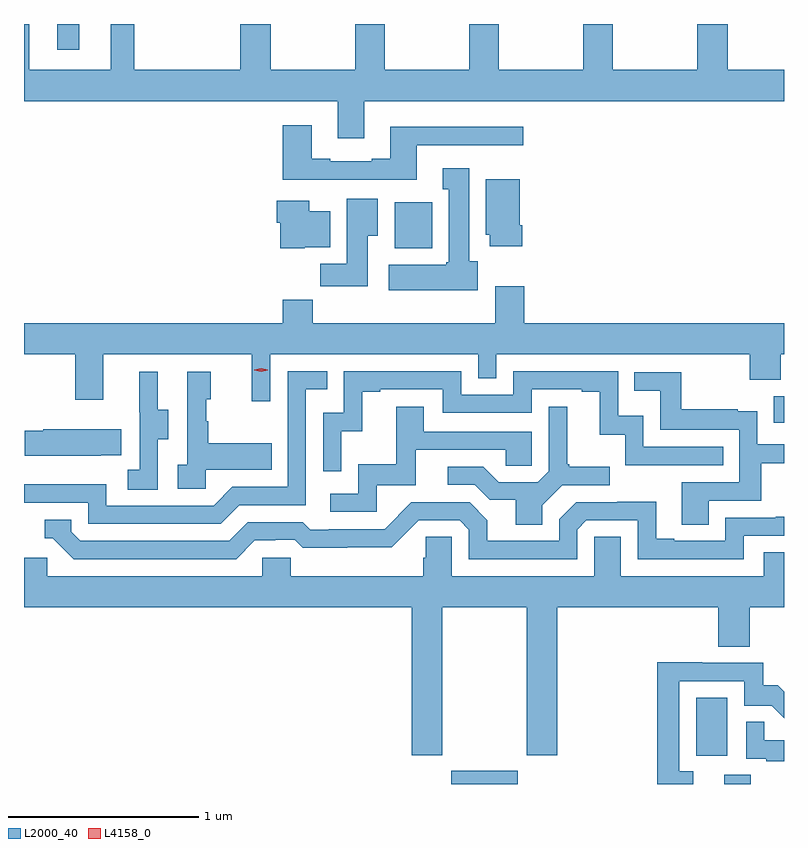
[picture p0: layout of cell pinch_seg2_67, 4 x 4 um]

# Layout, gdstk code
import gdstk
lib = gdstk.Library(unit=1e-6, precision=1e-09)
def R(c, l, rs):  # rectangles x0, y0, x1, y1
    for r in rs: c.add(gdstk.rectangle(r[:2], r[2:], *l))
def P(c, l, *ps):  # polygons
    for p in ps: c.add(gdstk.Polygon(p, *l))
L2000_40 = (2000, 40)
L4158_0 = (4158, 0)

pinch_seg2_67 = lib.new_cell('pinch_seg2_67')
R(pinch_seg2_67, L2000_40, [(1024.28,649.37,1024.63,649.441), (1025.717,649.37,1025.857,649.418), (1025.57,649.518,1025.734,649.825), (1025.977,651.272,1026.032,651.412), (1023.983,652.19,1024.18,652.432), (1022.207,653.235,1022.323,653.37)])
P(pinch_seg2_67, L2000_40, [(1023.823,652.964),(1026.032,652.964),(1026.032,653.128),(1025.735,653.128),(1025.735,653.37),(1025.575,653.37),(1025.575,653.128),(1025.13,653.128),(1025.13,653.37),(1024.975,653.37),(1024.975,653.128),(1024.53,653.128),(1024.53,653.37),(1024.375,653.37),(1024.375,653.128),(1023.93,653.128),(1023.93,653.37),(1023.775,653.37),(1023.775,653.128),(1023.33,653.128),(1023.33,653.37),(1023.17,653.37),(1023.17,653.128),(1022.611,653.128),(1022.611,653.37),(1022.489,653.37),(1022.489,653.128),(1022.059,653.128),(1022.059,653.37),(1022.032,653.37),(1022.032,652.964),(1023.683,652.964),(1023.683,652.77),(1023.823,652.77)],
  [(1024.099,652.731),(1024.66,652.731),(1024.66,652.828),(1023.959,652.828),(1023.959,652.66),(1023.863,652.66),(1023.863,652.647),(1023.643,652.647),(1023.643,652.66),(1023.547,652.66),(1023.547,652.837),(1023.395,652.837),(1023.395,652.551),(1024.099,652.551)],
  [(1024.42,652.122),(1024.375,652.122),(1024.375,652.612),(1024.235,652.612),(1024.235,652.499),(1024.268,652.499),(1024.268,652.116),(1024.255,652.116),(1024.255,652.102),(1023.951,652.102),(1023.951,651.968),(1024.42,651.968)],
  [(1024.655,652.312),(1024.642,652.312),(1024.642,652.552),(1024.463,652.552),(1024.463,652.26),(1024.484,652.26),(1024.484,652.2),(1024.655,652.2)],
  [(1023.841,652.256),(1023.895,652.256),(1023.895,652.45),(1023.731,652.45),(1023.731,652.108),(1023.592,652.108),(1023.592,651.99),(1023.841,651.99)],
  [(1023.51,652.196),(1023.643,652.196),(1023.643,652.384),(1023.532,652.384),(1023.532,652.441),(1023.362,652.441),(1023.362,652.323),(1023.38,652.323),(1023.38,652.19),(1023.51,652.19)],
  [(1023.327,651.632),(1024.422,651.632),(1024.422,651.505),(1024.518,651.505),(1024.518,651.632),(1025.853,651.632),(1025.853,651.497),(1026.014,651.497),(1026.014,651.632),(1026.032,651.632),(1026.032,651.796),(1024.664,651.796),(1024.664,651.991),(1024.511,651.991),(1024.511,651.796),(1023.551,651.796),(1023.551,651.92),(1023.395,651.92),(1023.395,651.796),(1022.032,651.796),(1022.032,651.632),(1022.302,651.632),(1022.302,651.393),(1022.449,651.393),(1022.449,651.632),(1023.23,651.632),(1023.23,651.384),(1023.327,651.384)],
  [(1023.166,650.838),(1023.516,650.838),(1023.516,651.447),(1023.629,651.447),(1023.629,651.543),(1023.42,651.543),(1023.42,650.934),(1023.129,650.934),(1023.03,650.835),(1022.466,650.835),(1022.466,650.947),(1022.032,650.947),(1022.032,650.85),(1022.37,650.85),(1022.37,650.739),(1023.067,650.739)],
  [(1023.702,651.227),(1023.812,651.227),(1023.812,651.435),(1023.907,651.435),(1023.907,651.447),(1024.236,651.447),(1024.236,651.324),(1024.704,651.324),(1024.704,651.447),(1024.967,651.447),(1024.967,651.435),(1025.063,651.435),(1025.063,651.209),(1025.196,651.209),(1025.196,651.048),(1025.711,651.048),(1025.711,651.144),(1025.292,651.144),(1025.292,651.307),(1025.16,651.307),(1025.16,651.543),(1024.608,651.543),(1024.608,651.42),(1024.332,651.42),(1024.332,651.543),(1023.714,651.543),(1023.714,651.324),(1023.606,651.324),(1023.606,651.015),(1023.702,651.015)],
  [(1022.988,651.023),(1023.335,651.023),(1023.335,651.163),(1023.001,651.163),(1023.001,651.278),(1022.991,651.278),(1022.991,651.396),(1023.016,651.396),(1023.016,651.541),(1022.892,651.541),(1022.892,651.05),(1022.841,651.05),(1022.841,650.925),(1022.988,650.925)],
  [(1022.736,651.184),(1022.791,651.184),(1022.791,651.339),(1022.737,651.339),(1022.737,651.541),(1022.639,651.541),(1022.639,651.327),(1022.64,651.327),(1022.64,651.023),(1022.577,651.023),(1022.577,650.92),(1022.736,650.92)],
  [(1025.635,650.862),(1025.912,650.862),(1025.912,651.058),(1026.032,651.058),(1026.032,651.159),(1025.892,651.159),(1025.892,651.331),(1025.789,651.331),(1025.789,651.343),(1025.491,651.343),(1025.491,651.537),(1025.245,651.537),(1025.245,651.44),(1025.38,651.44),(1025.38,651.234),(1025.796,651.234),(1025.796,650.958),(1025.495,650.958),(1025.495,650.734),(1025.635,650.734)],
  [(1024.759,650.836),(1024.866,650.943),(1025.116,650.943),(1025.116,651.04),(1024.903,651.04),(1024.903,651.052),(1024.891,651.052),(1024.891,651.355),(1024.794,651.355),(1024.794,651.015),(1024.737,650.958),(1024.531,650.958),(1024.45,651.039),(1024.263,651.039),(1024.263,650.946),(1024.404,650.946),(1024.484,650.866),(1024.619,650.866),(1024.619,650.734),(1024.759,650.734)],
  [(1023.888,650.943),(1024.093,650.943),(1024.093,651.129),(1024.567,651.129),(1024.567,651.045),(1024.704,651.045),(1024.704,651.225),(1024.135,651.225),(1024.135,651.355),(1023.991,651.355),(1023.991,651.052),(1023.792,651.052),(1023.792,650.898),(1023.645,650.898),(1023.645,650.802),(1023.888,650.802)],
  [(1022.435,651.101),(1022.543,651.101),(1022.543,651.238),(1022.133,651.238),(1022.133,651.228),(1022.035,651.228),(1022.035,651.098),(1022.435,651.098)],
  [(1023.247,650.652),(1023.354,650.652),(1023.354,650.655),(1023.457,650.655),(1023.499,650.613),(1023.732,650.613),(1023.732,650.615),(1023.968,650.615),(1024.11,650.757),(1024.326,650.757),(1024.374,650.709),(1024.374,650.553),(1024.944,650.553),(1024.944,650.709),(1024.992,650.757),(1025.262,650.757),(1025.262,650.553),(1025.82,650.553),(1025.82,650.676),(1026.032,650.676),(1026.032,650.777),(1025.989,650.777),(1025.989,650.772),(1025.724,650.772),(1025.724,650.649),(1025.455,650.649),(1025.455,650.662),(1025.359,650.662),(1025.359,650.855),(1025.154,650.855),(1025.154,650.853),(1024.938,650.853),(1024.848,650.763),(1024.848,650.649),(1024.471,650.649),(1024.471,650.759),(1024.377,650.853),(1024.071,650.853),(1023.93,650.712),(1023.637,650.712),(1023.637,650.709),(1023.538,650.709),(1023.499,650.748),(1023.21,650.748),(1023.111,650.649),(1022.328,650.649),(1022.28,650.697),(1022.28,650.76),(1022.141,650.76),(1022.141,650.664),(1022.184,650.664),(1022.295,650.553),(1023.148,650.553)],
  [(1024.233,650.3),(1024.678,650.3),(1024.678,649.521),(1024.838,649.521),(1024.838,650.3),(1025.687,650.3),(1025.687,650.092),(1025.852,650.092),(1025.852,650.3),(1026.032,650.3),(1026.032,650.591),(1025.925,650.591),(1025.925,650.464),(1025.173,650.464),(1025.173,650.672),(1025.034,650.672),(1025.034,650.464),(1024.284,650.464),(1024.284,650.672),(1024.147,650.672),(1024.147,650.562),(1024.132,650.562),(1024.132,650.464),(1023.435,650.464),(1023.435,650.562),(1023.285,650.562),(1023.285,650.464),(1022.154,650.464),(1022.154,650.562),(1022.032,650.562),(1022.032,650.3),(1024.073,650.3),(1024.073,649.521),(1024.233,649.521)],
  [(1025.554,649.437),(1025.481,649.437),(1025.481,649.911),(1025.823,649.911),(1025.823,649.782),(1025.967,649.782),(1026.032,649.717),(1026.032,649.856),(1025.998,649.89),(1025.922,649.89),(1025.922,650.007),(1025.603,650.007),(1025.603,650.012),(1025.365,650.012),(1025.365,649.37),(1025.554,649.37)],
  [(1026.032,649.599),(1025.927,649.599),(1025.927,649.697),(1025.832,649.697),(1025.832,649.503),(1025.939,649.503),(1025.939,649.491),(1026.032,649.491)])
P(pinch_seg2_67, L4158_0, [(1023.28,651.539),(1023.245,651.548),(1023.244,651.549),(1023.245,651.549),(1023.28,651.559),(1023.315,651.549),(1023.316,651.549),(1023.315,651.548)])

lib.write_gds('pinch_seg2_67.gds')
